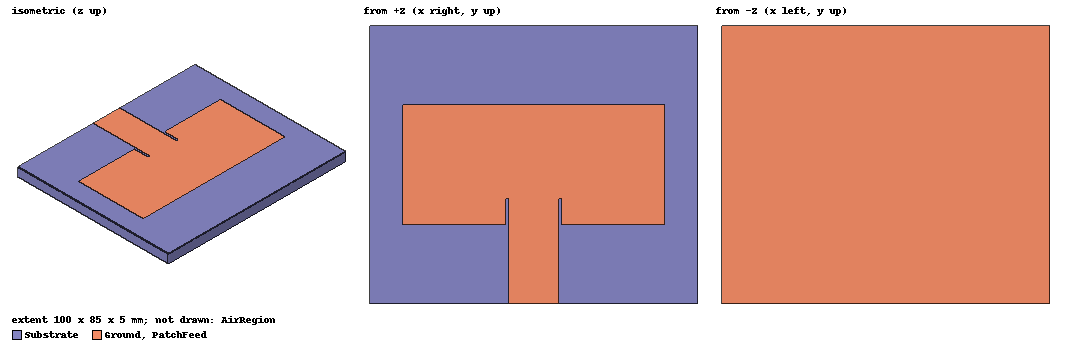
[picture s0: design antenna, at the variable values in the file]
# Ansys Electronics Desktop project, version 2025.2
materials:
  vacuum: permittivity=1
  AntennaSubstrate: permittivity=2.2 permeability=1 dielectric_loss_tangent=0.0009
  copper: permeability=0.999991 conductivity=58000000
  air: permittivity=1.0006 permeability=1.0000004

design antenna (HFSS, HFSS Modal Network, model units mm)
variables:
  freq0 = 2.45GHz
  sub_w = 100mm
  sub_l = 85mm
  sub_h = 5mm
  patch_w = 80mm
  patch_l = 36.5mm
  feed_w = 15mm
  inset_d = 8mm
  inset_gap = 1mm
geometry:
  Substrate [AntennaSubstrate] = box(corner=(-50mm, -42.5mm, 0mm), size=(100mm, 85mm, 5mm))
  Ground [copper] = rectangle(corner=(-50mm, -42.5mm, 0mm), x_size=100mm, y_size=85mm)
  PatchFeed [copper] = polyline(z=5mm, xy in mm: (-40, 18.25) (40, 18.25) (40, -18.25) (8.5, -18.25) (8.5, -10.25) (7.5, -10.25) (7.5, -42.5) (-7.5, -42.5) (-7.5, -10.25) (-8.5, -10.25) (-8.5, -18.25) (-40, -18.25) (-40, 18.25), closed, covered)
  Port1_sheet = polyline(y=-42.5mm, xz in mm: (-7.5, 0) (7.5, 0) (7.5, 5) (-7.5, 5) (-7.5, 0), closed, covered)
  AirRegion [air] = region(absolute_offset: +X=40mm, -X=40mm, +Y=40mm, -Y=40mm, +Z=55mm, -Z=30mm)
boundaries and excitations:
  PEC_Metals: Perfect E Objects=[Ground, PatchFeed]
  Rad1: Radiation Objects=AirRegion
  Port1: Lumped Port Objects=Port1_sheet LumpedPortType=Modal Modes{Mode1{IntLine{(0, -42.5, 5) -> (0, -42.5, 0)} CharImp=Zpi RenormImp=50ohm}} Impedance=50ohm
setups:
  Setup1: HfssDriven Frequency=2.45GHz MaxDeltaS=0.02 MaximumPasses=12 MinimumPasses=2 MinimumConvergedPasses=1 PercentRefinement=30 BasisOrder=1 PortAccuracy=2 DrivenSolverType="Direct Solver"
    sweep Sweep1: 2.3GHz to 2.6GHz, 301 points; Type=Interpolating InterpTolerance=0.5 InterpMaxSolns=250 InterpUsePortImped=false PassivityErrorTolerance=0.0001
    sweep EfficiencySweep: 2.3GHz to 2.6GHz, 31 points; Type=Discrete SaveFields SaveRadFields
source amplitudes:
  Port1:1: 1W 0deg
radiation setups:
  InfiniteSphere1: Infinite Sphere Theta=0deg..180deg step 5deg Phi=-180deg..180deg step 5deg
